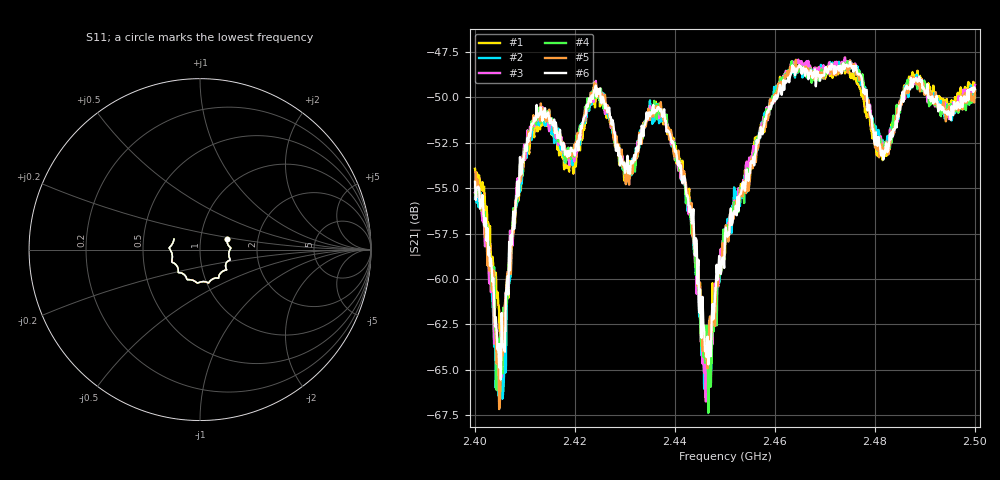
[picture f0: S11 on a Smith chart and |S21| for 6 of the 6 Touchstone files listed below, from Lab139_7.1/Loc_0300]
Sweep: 2.4 GHz to 2.5 GHz
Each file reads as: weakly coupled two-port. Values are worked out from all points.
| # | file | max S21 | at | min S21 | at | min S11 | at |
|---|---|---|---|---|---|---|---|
| 1 | Lab_139_2Ch1.s2p | -48.05 dB | 2.4653 GHz | -65.9 dB | 2.4463 GHz | -15.8 dB | 2.4993 GHz |
| 2 | Lab_139_5Ch1.s2p | -47.97 dB | 2.474 GHz | -66.6 dB | 2.4055 GHz | -15.8 dB | 2.4993 GHz |
| 3 | Lab_139_6Ch1.s2p | -47.78 dB | 2.474 GHz | -66.7 dB | 2.4462 GHz | -15.8 dB | 2.499 GHz |
| 4 | Lab_139_8Ch1.s2p | -48.00 dB | 2.4633 GHz | -67.4 dB | 2.4467 GHz | -15.8 dB | 2.4992 GHz |
| 5 | Lab_139_9Ch1.s2p | -47.92 dB | 2.4642 GHz | -67.2 dB | 2.4048 GHz | -15.8 dB | 2.499 GHz |
| 6 | Lab_139_10Ch1.s2p | -48.04 dB | 2.475 GHz | -65.5 dB | 2.4052 GHz | -15.8 dB | 2.499 GHz |
